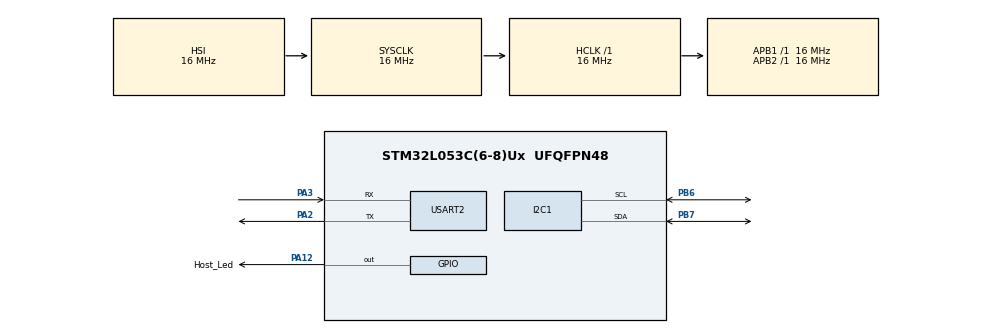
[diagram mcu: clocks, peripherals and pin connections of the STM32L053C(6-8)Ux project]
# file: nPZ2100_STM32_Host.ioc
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I2C1.I2C_Rise_Time=100
I2C1.Speed=100
I2C1.Timing=0x00503D58
Mcu.Family=STM32L0
Mcu.Name=STM32L053C(6-8)Ux
Mcu.Package=UFQFPN48
PA12.GPIO_Label=Host_Led
PA12.GPIO_PuPd=GPIO_NOPULL
PA12.PinState=GPIO_PIN_RESET
PA12.Signal=GPIO_Output
PA13.Mode=Serial_Wire
PA13.Signal=SYS_SWDIO
PA14.Mode=Serial_Wire
PA14.Signal=SYS_SWCLK
PA2.Mode=Asynchronous
PA2.Signal=USART2_TX
PA3.Mode=Asynchronous
PA3.Signal=USART2_RX
PB6.GPIO_Pu=GPIO_PULLUP
PB6.Mode=I2C
PB6.Signal=I2C1_SCL
PB7.GPIO_Pu=GPIO_PULLUP
PB7.Mode=I2C
PB7.Signal=I2C1_SDA
ProjectManager.HeapSize=0x200
ProjectManager.StackSize=0x400
ProjectManager.TargetToolchain=STM32CubeIDE
RCC.AHBFreq_Value=16000000
RCC.APB1Freq_Value=16000000
RCC.APB1TimFreq_Value=16000000
RCC.APB2Freq_Value=16000000
RCC.APB2TimFreq_Value=16000000
RCC.HCLKFreq_Value=16000000
RCC.HSE_VALUE=25000000
RCC.HSI16_VALUE=16000000
RCC.HSI48_VALUE=48000000
RCC.HSI_VALUE=16000000
RCC.I2c1ClockSelection=RCC_I2C1CLKSOURCE_HSI
RCC.LSE_VALUE=32768
RCC.MSI_VALUE=2097000
RCC.SYSCLKFreq_VALUE=16000000
RCC.SYSCLKSource=RCC_SYSCLKSOURCE_HSI
RCC.Usart2ClockSelection=RCC_USART2CLKSOURCE_HSI
RCC.VCOOutputFreq_Value=48000000
USART2.VirtualMode-Asynchronous=VM_ASYNC
VP_SYS_V_PVD_IN.Mode=Mode_PVD_Int
board=custom

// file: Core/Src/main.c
/* USER CODE BEGIN Header */
/**
  ******************************************************************************
  * @file           : main.c
  * @brief          : nPZ2100 reference application — STM32L053C8Ux
  *
  * INTEGRATION INTO A CUBEMX-GENERATED PROJECT
  * ---------------------------------------------
  * This file is designed to REPLACE the CubeMX-generated main.c.
  *
  * Also required in Core/Src/:
  *   npz2100_all.c  — compiles the nPZ2100 driver sources automatically.
  *                    No Source Location change in Project Properties needed.
  *
  * Also required in compiler include paths (Project Properties →
  * C/C++ Build → Settings → MCU GCC Compiler → Include paths):
  *   ../NPZ2100/Inc
  *
  * hi2c1 is declared extern here — it is defined by CubeMX in i2c.c.
  * If your project does NOT have i2c.c (standalone use), change the
  * extern declaration back to: I2C_HandleTypeDef hi2c1;
  ******************************************************************************
  */
/* USER CODE END Header */
#include "main.h"
#include "i2c.h"
#include "usart.h"
#include "gpio.h"

/* USER CODE BEGIN Includes */
#include "npz2100_stm32.h"
#include "npz2100_regmap.h"
/* USER CODE END Includes */

/* USER CODE BEGIN PV */

/* nPZ2100 driver handle — lives for the duration of one boot cycle. */
static NPZ2100_Handle_t hnpz;

/* Sensor initialisation commands stored in nPZ2100 SRAM.
 * The nPZ2100 sends these to the sensor during autonomous polling.
 * Each pair = (register_address, value). */
static const uint8_t sensor_init_cmds[] = {
    0x01, 0x00,   /* Example: config register, continuous conversion mode */
};

/* USER CODE END PV */

void SystemClock_Config(void);
/* USER CODE BEGIN PFP */
static void handle_peripheral_wake(uint8_t slot);
static void handle_battery_low(NPZ2100_Handle_t *hnpz);
/* USER CODE END PFP */

/* USER CODE BEGIN 0 */

/**
 * @brief Handle a peripheral threshold crossing.
 * Reads the last sampled value from the nPZ2100 and processes it.
 */
static void handle_peripheral_wake(uint8_t slot)
{
    uint16_t raw_value;
    NPZ2100_Status_t ret = NPZ2100_PeriphReadValue(&hnpz, slot, &raw_value);
    if (ret != NPZ2100_OK) {
        return;
    }

    /*
     * Example: TMP117 temperature sensor
     * Raw = signed 16-bit, 1 LSB = 0.0078125 °C
     * Convert to integer millidegrees: raw × 78 / 10 ≈ raw × 0.0078125 × 10000
     */
    int32_t temp_mdeg = (int32_t)(int16_t)raw_value * 78;
    (void)temp_mdeg; /* Use temp_mdeg: upload via UART, store to flash, etc. */
}

/**
 * @brief Battery low — increase polling period to conserve energy.
 * Modifies the shadow directly and relies on NPZ2100_ShadowFlush()
 * in main() to push the change before re-entering idle.
 */
static void handle_battery_low(NPZ2100_Handle_t *h)
{
    npz2100_config_t *shadow = NPZ2100_GetShadow(h);
    if (shadow == NULL) { return; }

    /* Double peripheral 1's polling period. */
    npz2100_periph_shadow_t *p = &shadow->periph[0];
    uint16_t period = (uint16_t)p->perp_l | ((uint16_t)p->perp_h << 8u);
    period = (period == 0u) ? 2u : (uint16_t)(period * 2u);
    p->perp_l = (uint8_t)(period & 0xFFu);
    p->perp_h = (uint8_t)(period >> 8u);
}

/* USER CODE END 0 */

int main(void)
{

  /* MCU Configuration--------------------------------------------------------*/

  /* Reset of all peripherals, Initializes the Flash interface and the Systick. */
  HAL_Init();

  /* Configure the system clock */
  SystemClock_Config();

  /* Initialize all configured peripherals */
  MX_GPIO_Init();
  MX_I2C1_Init();
  MX_USART2_UART_Init();
  /* USER CODE BEGIN 2 */

    /* ------------------------------------------------------------------ */
    /* Retarget printf to UART before any driver call.                     */
    /*                                                                     */
    /* Replace huart2 with whichever UART your CubeMX project initialises. */
    /* If your project has MX_USART2_UART_Init() generated, huart2 is     */
    /* declared in usart.c — add  extern UART_HandleTypeDef huart2;  here  */
    /* or declare it in main.h.                                            */
    /*                                                                     */
    /* If you do not want UART printf, comment out the two lines below.    */
    /* ------------------------------------------------------------------ */
    extern UART_HandleTypeDef huart2;   /* defined in Core/Src/usart.c    */
    NPZ2100_UartInit(&huart2);

    /* ---------------------------------------------------------------------- */
    /* 1. Initialise nPZ2100 driver.                                           */
    /*    Seeds shadow with reset defaults, probes device (ID = 0x74).        */
    /* ---------------------------------------------------------------------- */
    NPZ2100_Status_t ret = NPZ2100_Init(&hnpz, &hi2c1);
    if (ret != NPZ2100_OK) {
        /*
         * Device not found or I²C fault.
         * Spin here — the nPZ2100 watchdog will power-cycle the STM32
         * after its configured timeout, giving us a chance to retry.
         */
        while (1) { HAL_Delay(1000); }
    }

    /* ---------------------------------------------------------------------- */
    /* 2. Read wake-up reason.  MUST be first nPZ2100 operation.              */
    /*    Also resets the nPZ2100 watchdog timer.                              */
    /* ---------------------------------------------------------------------- */
    NPZ2100_WakeReason_t reason;
    NPZ2100_BootStatus(&hnpz, &reason);

    /* ---------------------------------------------------------------------- */
    /* 3. Sync shadow from device.                                             */
    /*    nPZ2100 retains all registers while STM32 is off.                   */
    /*    Readback before applying regmap gives an accurate diff.              */
    /* ---------------------------------------------------------------------- */
    NPZ2100_Readback(&hnpz);

    /* ---------------------------------------------------------------------- */
    /* 4. Apply register map — write only what changed.                        */
    /*    On a warm boot with no config change: zero I²C transactions.        */
    /* ---------------------------------------------------------------------- */
    NPZ2100_ApplyRegmap(&hnpz, npz2100_regmap, sizeof(npz2100_regmap));

    /* ---------------------------------------------------------------------- */
    /* 5. On cold boot (power-on reset): write sensor init commands to SRAM.  */
    /*    nPZ2100 sends these autonomously while STM32 is off.                */
    /* ---------------------------------------------------------------------- */
    if (reason.rst_src == NPZ2100_RST_SRC_POR && reason.timeout == 0) {
        NPZ2100_SramWrite(&hnpz, 0x00u,
                          sensor_init_cmds, sizeof(sensor_init_cmds));
    }

  /* USER CODE END 2 */

  /* Infinite loop */
  /* USER CODE BEGIN WHILE */

    /* ---------------------------------------------------------------------- */
    /* 6. Handle wake reason.                                                  */
    /* ---------------------------------------------------------------------- */
    uint8_t config_changed = 0u;

    /* Peripheral threshold crossings */
    for (uint8_t i = 0u; i < 6u; i++) {
        if (reason.periph_mask & (1u << i)) {
            handle_peripheral_wake(i);
        }
    }

    /* Battery low (ADC3 threshold) */
    if (reason.adc3) {
        handle_battery_low(&hnpz);
        config_changed = 1u;
    }

    /* Periodic time-out — nothing to do except re-enter idle */
    if (reason.timeout) {
        /* Heartbeat: log status, update RTC, etc. */
        (void)reason.timeout;
    }

    /* Global time counter alarm */
    if (reason.alarm) {
        /* Perform scheduled task here. */
        (void)reason.alarm;
    }

    /* ---------------------------------------------------------------------- */
    /* 7. Push runtime config changes (if any handler modified the shadow).   */
    /* ---------------------------------------------------------------------- */
    if (config_changed) {
        NPZ2100_ShadowFlush(&hnpz);
    }

    /* ---------------------------------------------------------------------- */
    /* 8. Re-enter idle.  nPZ2100 will cut STM32 power.                       */
    /*    This is the last instruction that executes.                          */
    /* ---------------------------------------------------------------------- */
    NPZ2100_EnterIdle(&hnpz);

    /*
     * Reaching here means the I²C write to IDLE_RST failed.
     * Spin and wait for the nPZ2100 watchdog to power-cycle the system.
     */
    while (1) {
        HAL_Delay(1000);
    }

    /* USER CODE END WHILE */

}

void SystemClock_Config(void)
{
  RCC_OscInitTypeDef RCC_OscInitStruct = {0};
  RCC_ClkInitTypeDef RCC_ClkInitStruct = {0};
  RCC_PeriphCLKInitTypeDef PeriphClkInit = {0};

  /** Configure the main internal regulator output voltage
  */
  __HAL_PWR_VOLTAGESCALING_CONFIG(PWR_REGULATOR_VOLTAGE_SCALE1);

  /** Initializes the RCC Oscillators according to the specified parameters
  * in the RCC_OscInitTypeDef structure.
  */
  RCC_OscInitStruct.OscillatorType = RCC_OSCILLATORTYPE_HSI;
  RCC_OscInitStruct.HSIState = RCC_HSI_ON;
  RCC_OscInitStruct.HSICalibrationValue = RCC_HSICALIBRATION_DEFAULT;
  RCC_OscInitStruct.PLL.PLLState = RCC_PLL_NONE;
  if (HAL_RCC_OscConfig(&RCC_OscInitStruct) != HAL_OK)
  {
    Error_Handler();
  }

  /** Initializes the CPU, AHB and APB buses clocks
  */
  RCC_ClkInitStruct.ClockType = RCC_CLOCKTYPE_HCLK|RCC_CLOCKTYPE_SYSCLK
                              |RCC_CLOCKTYPE_PCLK1|RCC_CLOCKTYPE_PCLK2;
  RCC_ClkInitStruct.SYSCLKSource = RCC_SYSCLKSOURCE_HSI;
  RCC_ClkInitStruct.AHBCLKDivider = RCC_SYSCLK_DIV1;
  RCC_ClkInitStruct.APB1CLKDivider = RCC_HCLK_DIV1;
  RCC_ClkInitStruct.APB2CLKDivider = RCC_HCLK_DIV1;

  if (HAL_RCC_ClockConfig(&RCC_ClkInitStruct, FLASH_LATENCY_0) != HAL_OK)
  {
    Error_Handler();
  }
  PeriphClkInit.PeriphClockSelection = RCC_PERIPHCLK_USART2|RCC_PERIPHCLK_I2C1;
  PeriphClkInit.Usart2ClockSelection = RCC_USART2CLKSOURCE_HSI;
  PeriphClkInit.I2c1ClockSelection = RCC_I2C1CLKSOURCE_HSI;
  if (HAL_RCCEx_PeriphCLKConfig(&PeriphClkInit) != HAL_OK)
  {
    Error_Handler();
  }
}

void Error_Handler(void)
{
    __disable_irq();
    while (1) { }
}
#ifdef USE_FULL_ASSERT
/**
  * @brief  Reports the name of the source file and the source line number
  *         where the assert_param error has occurred.
  * @param  file: pointer to the source file name
  * @param  line: assert_param error line source number
  * @retval None
  */
void assert_failed(uint8_t *file, uint32_t line)
{
  /* USER CODE BEGIN 6 */
    (void)file; (void)line;
  /* USER CODE END 6 */
}
#endif /* USE_FULL_ASSERT */
